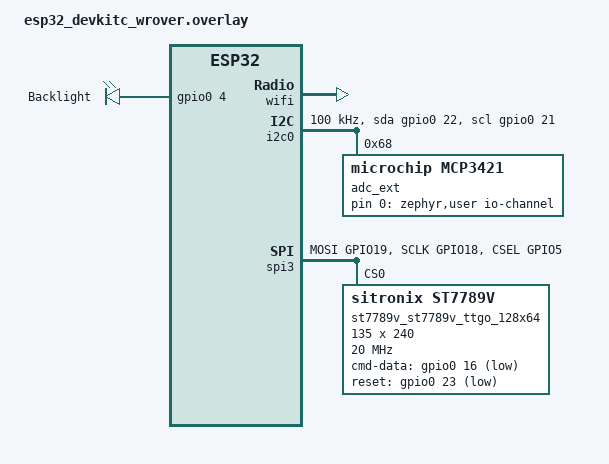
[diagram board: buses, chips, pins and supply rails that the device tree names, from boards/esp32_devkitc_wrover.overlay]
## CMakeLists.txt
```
# SPDX-License-Identifier: Apache-2.0

cmake_minimum_required(VERSION 3.20.0)

find_package(Zephyr REQUIRED HINTS $ENV{ZEPHYR_BASE})
project(water-level-sensor)

target_sources(app PRIVATE src/main.c)
```

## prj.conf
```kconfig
# Application
CONFIG_GOLIOTH_SAMPLE_COMMON=y
CONFIG_GOLIOTH_SAMPLE_HARDCODED_CREDENTIALS=y
CONFIG_LOG_BACKEND_GOLIOTH=y
CONFIG_CBPRINTF_FP_SUPPORT=y

# Golioth Firmware SDK with all dependencies
CONFIG_GOLIOTH_FIRMWARE_SDK=y

CONFIG_FLASH=y
CONFIG_FLASH_MAP=y
CONFIG_STREAM_FLASH=y
CONFIG_IMG_MANAGER=y

# Display and LVGL
CONFIG_LV_Z_MEM_POOL_NUMBER_BLOCKS=8
CONFIG_LV_Z_SHELL=y
CONFIG_MAIN_STACK_SIZE=4096

CONFIG_DISPLAY=y
CONFIG_DISPLAY_LOG_LEVEL_ERR=y

CONFIG_LVGL=y
CONFIG_LV_MEM_CUSTOM=y
CONFIG_LV_USE_LOG=y
CONFIG_LV_USE_LABEL=y
# CONFIG_LV_USE_BTN=y
# CONFIG_LV_USE_IMG=y
CONFIG_LV_USE_MONKEY=y
CONFIG_LV_FONT_MONTSERRAT_24=y
CONFIG_LV_FONT_MONTSERRAT_48=y
```

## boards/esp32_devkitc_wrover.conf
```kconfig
CONFIG_WIFI=y
CONFIG_HEAP_MEM_POOL_SIZE=49152

CONFIG_NET_L2_ETHERNET=y

CONFIG_NEWLIB_LIBC=y

CONFIG_NET_DHCPV4=y

CONFIG_MBEDTLS_ENTROPY_ENABLED=y
CONFIG_MBEDTLS_KEY_EXCHANGE_ECDHE_ECDSA_ENABLED=y
CONFIG_MBEDTLS_ECP_ALL_ENABLED=y

CONFIG_ESP32_WIFI_STA_AUTO_DHCPV4=y

CONFIG_NET_L2_WIFI_SHELL=y
CONFIG_GOLIOTH_SAMPLE_WIFI=y
CONFIG_ADC=y
CONFIG_ADC_MCP342X=y
```

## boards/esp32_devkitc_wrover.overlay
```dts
/{
	zephyr,user {
		io-channels =
			<&adc_ext 0>;
	};
	chosen {
		zephyr,display = &st7789v_st7789v_ttgo_128x64;
	};
	leds {
		compatible = "gpio-leds";

		backlight: led_0 {
			gpios =  <&gpio0 4 GPIO_ACTIVE_HIGH>;
			label = "Backlight";
		};
	};
};

&wifi {
	status = "okay";
};

#include <zephyr/dt-bindings/pinctrl/esp-pinctrl-common.h>
#include <dt-bindings/pinctrl/esp32-pinctrl.h>
#include <zephyr/dt-bindings/pinctrl/esp32-gpio-sigmap.h>

&pinctrl {

	spim3_display: spim3_display {
		group1 {
			pinmux = <SPIM3_MOSI_GPIO19>,
					<SPIM3_SCLK_GPIO18>,
					<SPIM3_CSEL_GPIO5>;
		};
	};
};

&i2c0 {
	status = "okay";
	clock-frequency = <I2C_BITRATE_STANDARD>;
	sda-gpios = <&gpio0 22 GPIO_OPEN_DRAIN>;
	scl-gpios = <&gpio0 21 GPIO_OPEN_DRAIN>;

	adc_ext: mcp3421@68 {
		compatible = "microchip,mcp3421";
		reg = <0x68>;
		#io-channel-cells = <1>;
	};
};

&adc_ext {
	status = "okay";
	#address-cells = <1>;
	#size-cells = <0>;

	channel@0 {
		reg = <0>;
		zephyr,gain = "ADC_GAIN_1";
		zephyr,reference = "ADC_REF_INTERNAL";
		zephyr,acquisition-time = <ADC_ACQ_TIME_DEFAULT>;
		zephyr,resolution = <18>;
		zephyr,differential;
	};
};


&spi3 {
	#address-cells = <1>;
	#size-cells = <0>;
	status = "okay";
	pinctrl-0 = <&spim3_display>;
	pinctrl-names = "default";

	// cs-gpios = <&gpio0 5 GPIO_ACTIVE_LOW>;	/* D10 */

	st7789v_st7789v_ttgo_128x64: st7789v@0 {
		compatible = "sitronix,st7789v";
		spi-max-frequency = <20000000>;
		reg = <0>;
		cmd-data-gpios = <&gpio0 16 GPIO_ACTIVE_LOW>;
		reset-gpios = <&gpio0 23 GPIO_ACTIVE_LOW>;
		width = <135>;
		height = <240>;
		x-offset = <53>;
		y-offset = <40>;
		vcom = <0x19>;
		gctrl = <0x35>;
		vrhs = <0x12>;
		vdvs = <0x20>;
		mdac = <0x00>;
		gamma = <0x01>;
		colmod = <0x05>;
		lcm = <0x2c>;
		porch-param = [0c 0c 00 33 33];
		cmd2en-param = [5a 69 02 01];
		pwctrl1-param = [a4 a1];
		pvgam-param = [D0 04 0D 11 13 2B 3F 54 4C 18 0D 0B 1F 23];
		nvgam-param = [D0 04 0C 11 13 2C 3F 44 51 2F 1F 1F 20 23];
		ram-param = [00 F8];
		rgb-param = [CD 08 14];
	};
};
```

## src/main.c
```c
/*
 * copyright (c) 2023 Diodes Delight
 *
 * spdx-license-identifier: apache-2.0
 */

#include <zephyr/logging/log.h>
LOG_MODULE_REGISTER(water_level_sensor, LOG_LEVEL_DBG);

#include "golioth.h"
#include <samples/common/sample_credentials.h>
#include <string.h>
#include <inttypes.h>
#include <stddef.h>
#include <stdint.h>
#include <zephyr/kernel.h>
#include <zephyr/device.h>
#include <zephyr/devicetree.h>
#include <zephyr/drivers/adc.h>
#include <zephyr/sys/printk.h>
#include <zephyr/sys/util.h>
#include <zephyr/drivers/display.h>
#include <zephyr/drivers/gpio.h>
#include <lvgl.h>

#include <samples/common/net_connect.h>

#if !DT_NODE_EXISTS(DT_PATH(zephyr_user)) || \
	!DT_NODE_HAS_PROP(DT_PATH(zephyr_user), io_channels)
#error "No suitable devicetree overlay specified"
#endif

#define DT_SPEC_AND_COMMA(node_id, prop, idx) \
	ADC_DT_SPEC_GET_BY_IDX(node_id, idx),

static const struct adc_dt_spec adc_channels[] = {
	DT_FOREACH_PROP_ELEM(DT_PATH(zephyr_user), io_channels,
			     DT_SPEC_AND_COMMA)
};

static const struct gpio_dt_spec backlight = GPIO_DT_SPEC_GET(DT_NODELABEL(backlight), gpios);

golioth_client_t client;
static K_SEM_DEFINE(connected, 0, 1);

static void on_client_event(golioth_client_t client, golioth_client_event_t event, void* arg) {
    bool is_connected = (event == GOLIOTH_CLIENT_EVENT_CONNECTED);
    if (is_connected) {
        k_sem_give(&connected);
    }
    LOG_INF("Golioth client %s", is_connected ? "connected" : "disconnected");
}

uint64_t get_water_level_um(int32_t adc_count, uint32_t nv_per_sample, uint32_t milliohms, uint32_t maxDepthUM) {
    // 4-20mA sensor
    int64_t sample_nv = adc_count*nv_per_sample;
    int64_t maxLevel = (16*milliohms)*1000;
    int64_t offset_nv = sample_nv-((4*milliohms)*1000);
    if(offset_nv <= 0) {
        return 0;
    }
    uint64_t waterlevel = (offset_nv*maxDepthUM)/maxLevel;
    return waterlevel;
};

uint32_t get_water_level_mm(int32_t millivolts, uint32_t milliohms, uint32_t maxDepthMM) {
    // 4-20mA sensor
    int32_t maxLevel = (16*milliohms)/1000;
    int32_t offset_mv = millivolts-((4*milliohms)/1000);
    if(offset_mv <= 0) {
        return 0;
    }
    int32_t waterlevel = (offset_mv*maxDepthMM)/maxLevel;
    return (uint32_t)(waterlevel);
}

int main(void) {
    int err;
    uint32_t buf;

    struct adc_sequence sequence = {
        .buffer = &buf,
        /* buffer size in bytes, not number of samples */
        .buffer_size = sizeof(buf),
    };

    if (!adc_is_ready_dt(&adc_channels[0])) {
        LOG_ERR("ADC controller device %s not ready\n", adc_channels[0].dev->name);
        return 0;
    }

    err = adc_channel_setup_dt(&adc_channels[0]);
    if (err < 0) {
        LOG_ERR("Could not setup channel #0 (%d)\n", err);
        return 0;
    }

    (void)adc_sequence_init_dt(&adc_channels[0], &sequence);

    char water_level_str[32] = {0};
	const struct device *display_dev;
	lv_obj_t *mid_label;
	lv_obj_t *bottom_label;
    static lv_style_t level_style;
    lv_style_init(&level_style);
    // lv_style_set_text_color(&level_style, lv_palette_main(LV_PALETTE_BLUE));
    lv_style_set_text_font(&level_style, &lv_font_montserrat_48);

	int ret;
	gpio_is_ready_dt(&backlight);
	gpio_pin_configure_dt(&backlight, GPIO_OUTPUT_ACTIVE);
	gpio_pin_set_dt(&backlight, 1);

	display_dev = DEVICE_DT_GET(DT_CHOSEN(zephyr_display));
	if (!device_is_ready(display_dev)) {
		LOG_ERR("Display not ready");
		return 0;
	}

    mid_label = lv_label_create(lv_scr_act());
    lv_obj_align(mid_label, LV_ALIGN_CENTER, 0, -20);

    bottom_label = lv_label_create(lv_scr_act());
    lv_obj_align(bottom_label, LV_ALIGN_BOTTOM_MID, 0, -50);

    lv_label_set_text(mid_label, "Connecting...");
    lv_task_handler();
    lv_obj_add_style(mid_label, &level_style, 0);
    display_blanking_off(display_dev);

    net_connect();

    const golioth_client_config_t* client_config = golioth_sample_credentials_get();

    client = golioth_client_create(client_config);

    golioth_client_register_event_callback(client, on_client_event, NULL);

    k_sem_take(&connected, K_FOREVER);

    while (true) {

        int32_t val_mv;
        int32_t adc_count;
        uint64_t water_level = 0;
        bool is_connected = true;
        err = adc_read(adc_channels[0].dev, &sequence);
        if (err < 0) {
            LOG_ERR("Failed to read ADC: %d", err);
            continue;
        }
        
        adc_count = (int32_t)buf;
        val_mv = adc_count;
        // LOG_INF("adc: %d", adc_count);

        err = adc_raw_to_millivolts_dt(&adc_channels[0], &val_mv);
        // LOG_INF("adc: %d", val_mv);

        if (val_mv < 300){
            LOG_ERR("Sensor disconnected");
            lv_label_set_text(bottom_label, "     Sensor\nDisconnected");
            lv_label_set_text(mid_label, "?");
            is_connected = false;
        }else{
            is_connected = true;
            lv_label_set_text(bottom_label, "   Sensor\nConnected");
            water_level = get_water_level_um(adc_count, 15625, 99640, 1000*1000);

            err = golioth_lightdb_stream_set_float_sync(client, "water-level", (float)water_level/1000, 2);
            if (err) {
                LOG_WRN("Failed to transmit water-level stream: %d", err);
            }

            LOG_INF("water level: %4.2f", (float)water_level/1000);

            err = golioth_lightdb_set_int_sync(client, "water-level", water_level/1000, 2);
            if (err) {
                LOG_WRN("Failed to transmit water-level: %d", err);
            }

            lv_label_set_text_fmt(mid_label, "%llu", water_level/1000U);
        }

        err = golioth_lightdb_set_bool_sync(client, "sensor-connected", is_connected, 2);
        if (err) {
            LOG_WRN("Failed to transmit sensor-connected: %d", err);
        }
    
        lv_task_handler();
        
        // k_sleep(K_SECONDS(1));
    }

    return 0;
}
```
